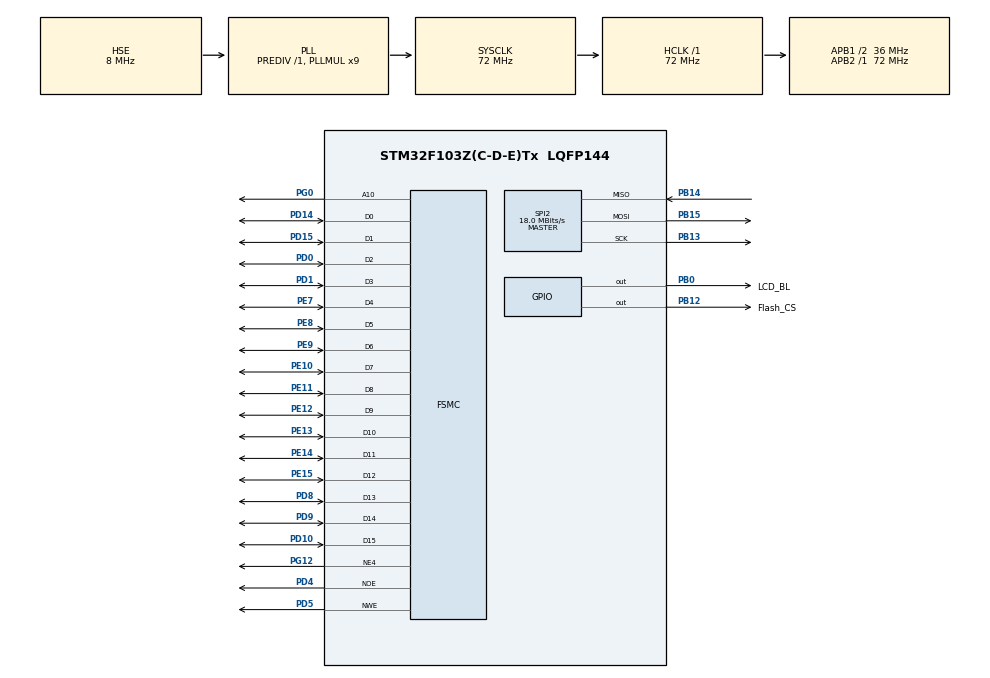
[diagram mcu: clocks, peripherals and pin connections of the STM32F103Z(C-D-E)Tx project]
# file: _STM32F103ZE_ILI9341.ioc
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FSMC.AddressSetupTime1=7
FSMC.BusTurnAroundDuration1=0
FSMC.DataSetupTime1=26
FSMC.ExtendedAddressSetupTime1=4
FSMC.ExtendedBusTurnAroundDuration1=0
FSMC.ExtendedDataSetupTime1=4
FSMC.ExtendedMode1=FSMC_EXTENDED_MODE_ENABLE
Mcu.Family=STM32F1
Mcu.Name=STM32F103Z(C-D-E)Tx
Mcu.Package=LQFP144
NVIC.PriorityGroup=NVIC_PRIORITYGROUP_4
OSC_IN.Mode=HSE-External-Oscillator
OSC_IN.Signal=RCC_OSC_IN
OSC_OUT.Mode=HSE-External-Oscillator
OSC_OUT.Signal=RCC_OSC_OUT
PA13.Mode=Serial_Wire
PA13.Signal=SYS_JTMS-SWDIO
PA14.Mode=Serial_Wire
PA14.Signal=SYS_JTCK-SWCLK
PB0.GPIO_Label=LCD_BL
PB0.PinState=GPIO_PIN_SET
PB0.Signal=GPIO_Output
PB12.GPIO_Label=Flash_CS
PB12.GPIO_Speed=GPIO_SPEED_FREQ_HIGH
PB12.PinState=GPIO_PIN_SET
PB12.Signal=GPIO_Output
PB13.Mode=Full_Duplex_Master
PB13.Signal=SPI2_SCK
PB14.Mode=Full_Duplex_Master
PB14.Signal=SPI2_MISO
PB15.Mode=Full_Duplex_Master
PB15.Signal=SPI2_MOSI
PD0.Signal=FSMC_D2_DA2
PD1.Signal=FSMC_D3_DA3
PD10.Signal=FSMC_D15_DA15
PD14.Signal=FSMC_D0_DA0
PD15.Signal=FSMC_D1_DA1
PD4.Signal=FSMC_NOE
PD5.Signal=FSMC_NWE
PD8.Signal=FSMC_D13_DA13
PD9.Signal=FSMC_D14_DA14
PE10.Signal=FSMC_D7_DA7
PE11.Signal=FSMC_D8_DA8
PE12.Signal=FSMC_D9_DA9
PE13.Signal=FSMC_D10_DA10
PE14.Signal=FSMC_D11_DA11
PE15.Signal=FSMC_D12_DA12
PE7.Signal=FSMC_D4_DA4
PE8.Signal=FSMC_D5_DA5
PE9.Signal=FSMC_D6_DA6
PG0.Signal=FSMC_A10
PG12.Mode=NorPsramChipSelect4_1
PG12.Signal=FSMC_NE4
ProjectManager.HeapSize=0x200
ProjectManager.StackSize=0x400
ProjectManager.TargetToolchain=STM32CubeIDE
RCC.AHBFreq_Value=72000000
RCC.APB1CLKDivider=RCC_HCLK_DIV2
RCC.APB1Freq_Value=36000000
RCC.APB1TimFreq_Value=72000000
RCC.APB2Freq_Value=72000000
RCC.APB2TimFreq_Value=72000000
RCC.HCLKFreq_Value=72000000
RCC.PLLMUL=RCC_PLL_MUL9
RCC.PLLSourceVirtual=RCC_PLLSOURCE_HSE
RCC.SYSCLKFreq_VALUE=72000000
RCC.SYSCLKSource=RCC_SYSCLKSOURCE_PLLCLK
RCC.USBFreq_Value=72000000
SH.FSMC_A10.0=FSMC_A10,A10_1
SH.FSMC_D0_DA0.0=FSMC_D0,16b-d1
SH.FSMC_D10_DA10.0=FSMC_D10,16b-d1
SH.FSMC_D11_DA11.0=FSMC_D11,16b-d1
SH.FSMC_D12_DA12.0=FSMC_D12,16b-d1
SH.FSMC_D13_DA13.0=FSMC_D13,16b-d1
SH.FSMC_D14_DA14.0=FSMC_D14,16b-d1
SH.FSMC_D15_DA15.0=FSMC_D15,16b-d1
SH.FSMC_D1_DA1.0=FSMC_D1,16b-d1
SH.FSMC_D2_DA2.0=FSMC_D2,16b-d1
SH.FSMC_D3_DA3.0=FSMC_D3,16b-d1
SH.FSMC_D4_DA4.0=FSMC_D4,16b-d1
SH.FSMC_D5_DA5.0=FSMC_D5,16b-d1
SH.FSMC_D6_DA6.0=FSMC_D6,16b-d1
SH.FSMC_D7_DA7.0=FSMC_D7,16b-d1
SH.FSMC_D8_DA8.0=FSMC_D8,16b-d1
SH.FSMC_D9_DA9.0=FSMC_D9,16b-d1
SH.FSMC_NOE.0=FSMC_NOE,Lcd1
SH.FSMC_NWE.0=FSMC_NWE,Lcd1
SPI2.BaudRatePrescaler=SPI_BAUDRATEPRESCALER_2
SPI2.CalculateBaudRate=18.0 MBits/s
SPI2.Direction=SPI_DIRECTION_2LINES
SPI2.Mode=SPI_MODE_MASTER
SPI2.VirtualType=VM_MASTER
board=custom

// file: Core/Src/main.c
/* USER CODE BEGIN Header */
/**
  ******************************************************************************
  * @file           : main.c
  * @brief          : Main program body
  ******************************************************************************
  * @attention
  *
  * Copyright (c) 2025 STMicroelectronics.
  * All rights reserved.
  *
  * This software is licensed under terms that can be found in the LICENSE file
  * in the root directory of this software component.
  * If no LICENSE file comes with this software, it is provided AS-IS.
  *
  ******************************************************************************
  */
/* USER CODE END Header */
#include "main.h"
#include "spi.h"
#include "gpio.h"
#include "fsmc.h"

/* USER CODE BEGIN Includes */
#include "w25qxx.h"
#include "ili9341.h"
#include "pic02.h"
/* USER CODE END Includes */

/* USER CODE BEGIN PV */
uint8_t idx[12];

/* USER CODE END PV */

void SystemClock_Config(void);

/* USER CODE BEGIN 0 */
//************************************
void lcd_setup_picture(uint8_t pic_nr)
{
    uint8_t dana ;
    uint16_t x, y;
    lcdOrientationTypeDef dana2;

    lcdOrientationTypeDef setup_pic[] = {
            LCD_ORIENTATION_LANDSCAPE,
            LCD_ORIENTATION_PORTRAIT_MIRROR,
            LCD_ORIENTATION_PORTRAIT,
            LCD_ORIENTATION_LANDSCAPE_MIRROR,
            LCD_ORIENTATION_LANDSCAPE_MIRROR,
            LCD_ORIENTATION_LANDSCAPE,
            LCD_ORIENTATION_LANDSCAPE,
            LCD_ORIENTATION_LANDSCAPE,
            LCD_ORIENTATION_LANDSCAPE,
            LCD_ORIENTATION_LANDSCAPE,
            LCD_ORIENTATION_LANDSCAPE
            };

    dana = pic_nr;
    if (dana > 10) {dana =0;}
    dana2 =  setup_pic[dana];
    lcdSetOrientation(dana2);

    x=319;
    y=239;

    if((dana2 == LCD_ORIENTATION_PORTRAIT  ) || (dana2 == LCD_ORIENTATION_PORTRAIT_MIRROR))
    {
        y=319;
        x=239;
    }
    lcdSetWindow(0, 0, x, y);
}
//************************************
void readPicFromFlash(void)
{
	uint32_t i;
	uint32_t page_nr, i2;
	uint16_t rx_buff[128];
	uint16_t* RX_ADDR  = (uint16_t*) &rx_buff[0];

	lcd_setup_picture(1);

	page_nr = 0;

	for(i = 0; i < 600; i++)
	{
		W25qxx_ReadPage((uint8_t*)RX_ADDR, page_nr, 0, 256);
		page_nr ++;

		for(i2 = 0; i2 < 128 ; i2++){
			LCD->LCD_RAM = rx_buff[i2];
		}
	}
}
//************************************

// if you want store picture into external flash you need unrem line below "#define photos"
//#define photos

#ifdef photos

void savePicToFlash(void){

	uint32_t index=0;

	W25qxx_EraseBlock(0);
	W25qxx_EraseBlock(1);
	W25qxx_EraseBlock(2);

	W25qxx_WriteBlock((uint8_t*)&laki[index], 0, 0,65536);index+=65536/2;
	W25qxx_WriteBlock((uint8_t*)&laki[index], 1, 0,65536);index+=65536/2;
	W25qxx_WriteBlock((uint8_t*)&laki[index], 2, 0,22528);
}

#endif

//************************************
/* USER CODE END 0 */

int main(void)
{

  /* MCU Configuration--------------------------------------------------------*/

  /* Reset of all peripherals, Initializes the Flash interface and the Systick. */
  HAL_Init();

  /* Configure the system clock */
  SystemClock_Config();

  /* Initialize all configured peripherals */
  MX_GPIO_Init();
  MX_FSMC_Init();
  MX_SPI2_Init();
  /* USER CODE BEGIN 2 */

  lcdSetTextFont(&Font16);
  LCD_ILI9341_init();
  lcd_setup_picture(1);

  if (W25qxx_Init()) {
#ifdef photos
	  lcdSetOrientation(LCD_ORIENTATION_LANDSCAPE);
	  lcdFillRGB(COLOR_BLACK);
	  lcdSetTextFont(&Font24);
	  lcdSetCursor(0, 70);
	  lcdPrintf(" WAIT FOR WRITE\n");
	  lcdPrintf("  DATA TO FLASH\n\n");
	  lcdPrintf("  ID : 0x%s\n", &idx[4]);
	  lcdSetTextFont(&Font16);
	  savePicToFlash();
#endif
	  lcdFillRGB(COLOR_BLUE);
	  readPicFromFlash();
  }

  while(1)
  {
  lcdSetOrientation(LCD_ORIENTATION_LANDSCAPE);
  lcdFillRGB(COLOR_BLACK);
  lcdSetCursor(0, 10);
	lcdPrintf("INIT OF SPI FLASH W25Qxx :");
	if (W25qxx_Init()) {

		lcdPrintf("OK\n");
		lcdPrintf("FACTORY ID : 0x%s\n", &idx[4]);
		lcdPrintf("CAPACITY :%d KB\n",w25qxx.CapacityInKiloByte);
		lcdPrintf("SECTOR COUNT :%d\n",w25qxx.SectorCount);
		lcdPrintf("SECTOR SIZE :%d\n",w25qxx.SectorSize);
		lcdPrintf("BLOCK COUNT :%d\n",w25qxx.BlockCount);
		lcdPrintf("BLOCK SIZE :%d\n",w25qxx.BlockSize);
		lcdPrintf("PAGE COUNT :%d\n",w25qxx.PageCount);
		lcdPrintf("PAGE SIZE :%d\n",w25qxx.PageSize);

		lcdPrintf("DATA EXIST IN EXT. FLASH\n");
		lcdPrintf("---------------------------\n");
		lcdPrintf("-  READ EXT.  SPI  FLASH  -\n");
		lcdPrintf("---------------------------\n");

	}
	else {
		lcdPrintf("ERROR\n");
		while(1){}
	}
	HAL_Delay(5000);
	lcdFillRGB(COLOR_BLACK);
	readPicFromFlash();
	HAL_Delay(5000);
  }

  while(1){}
  lcd_setup_picture(1);

#ifdef photosy
  for(uint32_t i = 0 ; i < 76800 ; i++) {
	  LCD->LCD_RAM = laki[i];
  }
#endif
  /* USER CODE END 2 */

  /* Infinite loop */
  while (1)
  {

  }
}

void SystemClock_Config(void)
{
  RCC_OscInitTypeDef RCC_OscInitStruct = {0};
  RCC_ClkInitTypeDef RCC_ClkInitStruct = {0};

  /** Initializes the RCC Oscillators according to the specified parameters
  * in the RCC_OscInitTypeDef structure.
  */
  RCC_OscInitStruct.OscillatorType = RCC_OSCILLATORTYPE_HSE;
  RCC_OscInitStruct.HSEState = RCC_HSE_ON;
  RCC_OscInitStruct.HSEPredivValue = RCC_HSE_PREDIV_DIV1;
  RCC_OscInitStruct.HSIState = RCC_HSI_ON;
  RCC_OscInitStruct.PLL.PLLState = RCC_PLL_ON;
  RCC_OscInitStruct.PLL.PLLSource = RCC_PLLSOURCE_HSE;
  RCC_OscInitStruct.PLL.PLLMUL = RCC_PLL_MUL9;
  if (HAL_RCC_OscConfig(&RCC_OscInitStruct) != HAL_OK)
  {
    Error_Handler();
  }

  /** Initializes the CPU, AHB and APB buses clocks
  */
  RCC_ClkInitStruct.ClockType = RCC_CLOCKTYPE_HCLK|RCC_CLOCKTYPE_SYSCLK
                              |RCC_CLOCKTYPE_PCLK1|RCC_CLOCKTYPE_PCLK2;
  RCC_ClkInitStruct.SYSCLKSource = RCC_SYSCLKSOURCE_PLLCLK;
  RCC_ClkInitStruct.AHBCLKDivider = RCC_SYSCLK_DIV1;
  RCC_ClkInitStruct.APB1CLKDivider = RCC_HCLK_DIV2;
  RCC_ClkInitStruct.APB2CLKDivider = RCC_HCLK_DIV1;

  if (HAL_RCC_ClockConfig(&RCC_ClkInitStruct, FLASH_LATENCY_2) != HAL_OK)
  {
    Error_Handler();
  }
}

void Error_Handler(void)
{
  __disable_irq();
  while (1)
  {
  }
}
